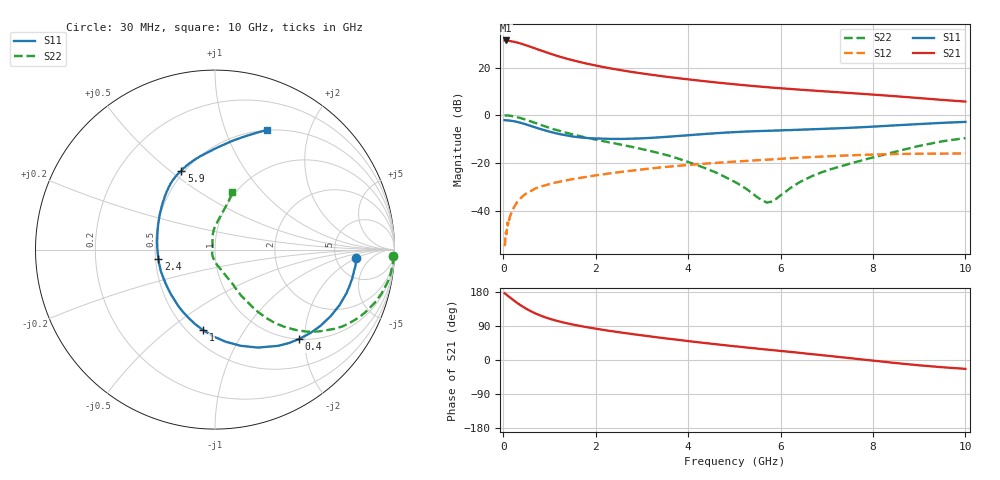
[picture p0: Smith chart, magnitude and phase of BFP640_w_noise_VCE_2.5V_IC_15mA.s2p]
! (c) 2013  Infineon Technologies AG, Munich
! Infineon Technologies  Discrete & RF Semiconductors
! BFP640
! VCE =  2.5 V,  IC =  15 mA
! Common Emitter S-Parameters:  Apr 2013
# GHz  S  MA  R  50
!  f  S11  S21  S12  S22
! GHz  MAG  ANG  MAG  ANG  MAG  ANG  MAG  ANG
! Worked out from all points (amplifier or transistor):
!   99 points, 30 MHz to 10 GHz, reference 50 ohm
!   highest |S21| = 31.4 dB at 50 MHz (marker M1)
!   |S21| within 3 dB of that: start of sweep to 640.6 MHz
!   unconditionally stable (mu >= 1): 3.159 GHz to end of sweep
!   at 350 MHz: K = 0.22, MSG = 32.8 dB, |S12| = -35.4 dB
!   at 3.5 GHz: K = 1.02, MAG = 18.1 dB, |S12| = -21.7 dB
!   at 10 GHz: K = 1.08, MAG = 9.2 dB, |S12| = -16.0 dB
!   lowest NFmin = 0.75 dB at 450 MHz
!   S11 on the Smith chart (normalised r, x): 30 MHz: 7.97, -1.97; 400 MHz: 1.00, -1.88; 1 GHz: 0.59, -0.67; 2.4 GHz: 0.52, -0.06; 5.9 GHz: 0.48, +0.55; 10 GHz: 0.50, +1.41
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0.03  0.7886 -3.4  36.91 176.2  0.0018 87.3  0.9922 -1.9
0.05  0.7881 -5.9  37.06 174.5  0.0033 82.7  0.9934 -3.6
0.15  0.772 -18.3  36.02 164.7  0.0077 81.0  0.9754 -11.3
0.25  0.7437 -29.9  34.45 155.3  0.0126 79.3  0.9374 -18.5
0.3  0.7252 -35.8  33.55 150.8  0.0151 74.4  0.913 -21.9
0.4  0.6841 -46.7  31.5 142.5  0.0193 69.6  0.8585 -28.1
0.5  0.6408 -56.8  29.27 135.2  0.0229 66.5  0.801 -33.4
0.6  0.5962 -66.3  27.09 128.5  0.0259 63.1  0.7412 -37.9
0.7  0.5548 -75.0  25.04 122.7  0.0293 60.1  0.6876 -41.7
0.8  0.5168 -83.4  23.12 117.6  0.0317 58.5  0.6358 -44.8
1  0.4542 -98.3  19.85 109.0  0.036 55.1  0.546 -49.8
1.1  0.4294 -105.0  18.45 105.4  0.0382 54.0  0.5084 -51.6
1.3  0.3896 -117.4  16.11 99.1  0.042 52.3  0.4469 -54.3
1.7  0.3412 -139.6  12.8 89.0  0.0493 49.9  0.358 -57.6
2.4  0.3191 -170.8  9.338 75.2  0.062 45.9  0.2587 -61.6
3.4  0.3461 156.2  6.679 58.8  0.0804 39.2  0.1585 -67.5
4.2  0.3948 137.0  5.384 47.1  0.094 33.1  0.0899 -80.9
5.1  0.448 122.4  4.38 35.1  0.108 26.3  0.0358 -113.6
5.9  0.4785 113.1  3.752 25.2  0.1205 20.3  0.0175 142.2
6.7  0.5095 104.0  3.301 15.2  0.1333 13.5  0.054 104.5
8.5  0.6158 80.6  2.503 -8.1  0.154 -3.7  0.1735 82.5
10  0.7268 66.5  1.938 -23.4  0.1579 -15.2  0.333 73.2
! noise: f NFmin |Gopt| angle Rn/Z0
0.45  0.75  0.16  7  0.02
0.9  0.77  0.15  15  0.02
1.5  0.79  0.12  26  0.04
1.9  0.79  0.09  43  0.04
2.4  0.82  0.13  -116  0.05
3.5  0.95  0.19  -105  0.07
5.5  1.16  0.22  -100  0.12
10  1.69  0.57  -57  0.42
